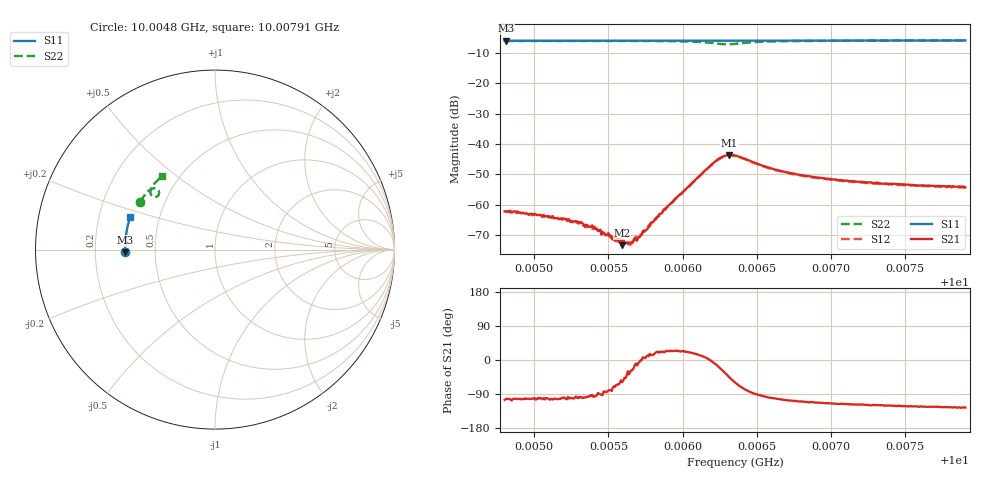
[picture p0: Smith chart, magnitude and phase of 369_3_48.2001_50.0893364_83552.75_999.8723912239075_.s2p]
#  HZ  S  RI  R  50.00
! Rohde & Schwarz Vector Network Analyzer
! Rohde-Schwarz,ZNB20-2Port,1311601062101988,3.16
! Created: UTC 3/20/2024, 11:52:38 AM
! freq[Hz]  re:S11  im:S11  re:S21  im:S21  re:S12  im:S12  re:S22  im:S22
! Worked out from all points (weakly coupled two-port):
!   401 points, 10.0048 GHz to 10.00791 GHz, reference 50 ohm
!   highest |S21| = -43.57 dB at 10.00631 GHz (marker M1); lowest = -73.4 dB at 10.00559 GHz (marker M2)
!   lowest |S11| = -6.0 dB at 10.00481 GHz (marker M3), VSWR 2.99, Z = 16.7 - j0.654 ohm
!   |S11| at or under -10 dB: nowhere
!   |S22| runs from -7.2 to -6.0 dB; largest |S21 - S12| = 0.00041
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1.00048e10  -0.499 -0.0152  -0.000205 -0.000749  -0.000134 -0.000774  -0.4162 0.2658
1.0004807e10  -0.4989 -0.0147  -0.000178 -0.000759  -0.000139 -0.000776  -0.4158 0.2662
1.0004877e10  -0.4993 -0.0102  -0.00016 -0.000754  -0.000121 -0.000722  -0.4135 0.2705
1.0005188e10  -0.4999 0.0102  -9.41e-05 -0.00058  -8.49e-05 -0.000555  -0.4021 0.2889
1.000532e10  -0.5 0.0187  -7.41e-05 -0.000502  -1.84e-05 -0.000441  -0.3967 0.2966
1.0005336e10  -0.5 0.0196  -7.21e-05 -0.000464  -2.39e-05 -0.000463  -0.3961 0.2975
1.0005421e10  -0.4999 0.0253  -2.4e-05 -0.000402  -9.58e-07 -0.000385  -0.3924 0.3028
1.0005468e10  -0.4997 0.0282  4.26e-05 -0.000343  8.43e-06 -0.000332  -0.3903 0.3055
1.0005592e10  -0.4996 0.0362  0.000113 -0.000182  0.000101 -0.000183  -0.3841 0.3131
1.0005623e10  -0.4995 0.0381  0.000184 -0.00016  0.000199 -0.000147  -0.3825 0.3151
1.0005654e10  -0.4992 0.0403  0.000208 -0.000106  0.000218 -0.000118  -0.3808 0.3171
1.0005701e10  -0.4992 0.0433  0.000293 -4.32e-05  0.000292 1.8e-06  -0.378 0.3199
1.0005841e10  -0.4985 0.0524  0.000654 0.000227  0.000597 0.000244  -0.3687 0.3287
1.0006214e10  -0.4958 0.0764  0.00498 -0.000695  0.00493 -0.000465  -0.3145 0.3286
1.000626e10  -0.4953 0.0792  0.00552 -0.00246  0.00549 -0.00214  -0.3115 0.313
1.0006315e10  -0.4948 0.0822  0.00465 -0.00473  0.00482 -0.00435  -0.3222 0.2964
1.0006354e10  -0.4947 0.0846  0.00331 -0.00556  0.00351 -0.00531  -0.3354 0.2929
1.0006618e10  -0.4924 0.1016  -0.000732 -0.00378  -0.000583 -0.00372  -0.3588 0.3316
1.0006874e10  -0.4893 0.1179  -0.00104 -0.0027  -0.000919 -0.00269  -0.3477 0.3544
1.0007092e10  -0.4864 0.1316  -0.0011 -0.00223  -0.000971 -0.00226  -0.3369 0.3683
1.0007395e10  -0.4813 0.1507  -0.00111 -0.0019  -0.00102 -0.00193  -0.3217 0.3842
1.0007907e10  -0.4715 0.1821  -0.00113 -0.00158  -0.00106 -0.0016  -0.2957 0.4077
